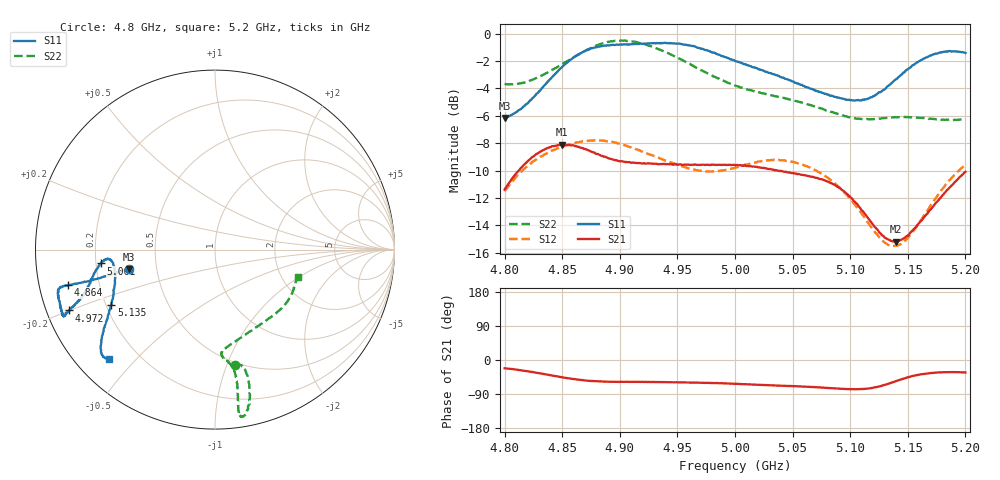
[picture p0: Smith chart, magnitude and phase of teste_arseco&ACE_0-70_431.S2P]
! Network Analyzer HP8722D
! Hewlett-Packard
! Data name: Linha & Wilkinson
! Saver's name: Rodrigo Anjos
! Comments: Teste da utilização de aquisição
! continua pelo VNA HP8722D
! Time and date: 8/5/2025 16:21
!  Frequency  S11  S21  S12  S22
# HZ  S  MA R 50
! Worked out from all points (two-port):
!   401 points, 4.8 GHz to 5.2 GHz, reference 50 ohm
!   highest |S21| = -8.11 dB at 4.85 GHz (marker M1); lowest = -15.2 dB at 5.14 GHz (marker M2)
!   |S21| within 3 dB of the highest: 4.802 GHz to 5.088 GHz (285.7 MHz wide, 5.78 % of centre); 5.187715 GHz to end of sweep
!   lowest |S11| = -6.2 dB at 4.8 GHz (marker M3), VSWR 2.94, Z = 17.2 - j5.03 ohm
!   |S11| at or under -10 dB: nowhere
!   |S22| runs from -6.3 to -0.5 dB; largest |S21 - S12| = 0.62
!   S11 on the Smith chart (normalised r, x): 4.8 GHz: 0.34, -0.10; 4.864 GHz: 0.09, -0.12; 4.972 GHz: 0.07, -0.20; 5.061 GHz: 0.22, -0.06; 5.135 GHz: 0.22, -0.24; 5.2 GHz: 0.10, -0.42
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4.8e9  0.4919 -167.0  0.2697 -21.9  0.266 -143.0  0.6553 -80.2
4.826e9  0.5915 -166.7  0.3591 -32.7  0.3438 -147.5  0.6841 -76.2
4.85e9  0.7567 -166.1  0.393 -45.5  0.3863 -151.6  0.7744 -75.7
4.864e9  0.84 -166.5  0.3865 -51.8  0.4011 -153.6  0.8377 -76.7
4.867e9  0.8528 -166.4  0.3829 -53.2  0.4033 -154.1  0.8526 -76.9
4.898e9  0.9114 -163.6  0.3438 -57.6  0.3977 -157.8  0.9414 -80.3
4.934e9  0.9237 -157.1  0.3337 -58.5  0.352 -156.4  0.8755 -81.6
4.951e9  0.9185 -156.2  0.3326 -59.0  0.3311 -153.3  0.8133 -81.0
4.972e9  0.8792 -157.3  0.3326 -59.9  0.315 -147.0  0.7314 -80.6
5e9  0.7947 -160.0  0.3313 -63.0  0.3242 -138.4  0.6464 -82.3
5.035e9  0.7061 -166.5  0.3178 -67.4  0.3461 -136.1  0.5909 -86.4
5.061e9  0.6404 -173.1  0.304 -70.2  0.3291 -138.3  0.5563 -84.3
5.067e9  0.6278 -174.0  0.3007 -71.1  0.3216 -138.9  0.5461 -82.8
5.087e9  0.5875 -174.7  0.2798 -75.1  0.2833 -140.4  0.5124 -74.2
5.1e9  0.5717 -171.5  0.2532 -76.8  0.2495 -140.2  0.4958 -66.0
5.116e9  0.5803 -163.6  0.2111 -75.3  0.203 -134.9  0.4868 -54.4
5.134e9  0.6489 -152.7  0.1767 -61.8  0.1689 -117.3  0.4938 -42.6
5.135e9  0.6535 -152.0  0.1756 -60.9  0.1685 -116.0  0.4942 -42.0
5.14e9  0.6817 -149.9  0.1742 -55.4  0.1685 -109.4  0.4951 -39.3
5.151e9  0.747 -145.3  0.1851 -44.9  0.1823 -96.1  0.4954 -33.6
5.173e9  0.8414 -139.3  0.2371 -33.7  0.2469 -81.2  0.4876 -24.3
5.2e9  0.8496 -134.1  0.3131 -33.0  0.3319 -78.5  0.4873 -18.0
